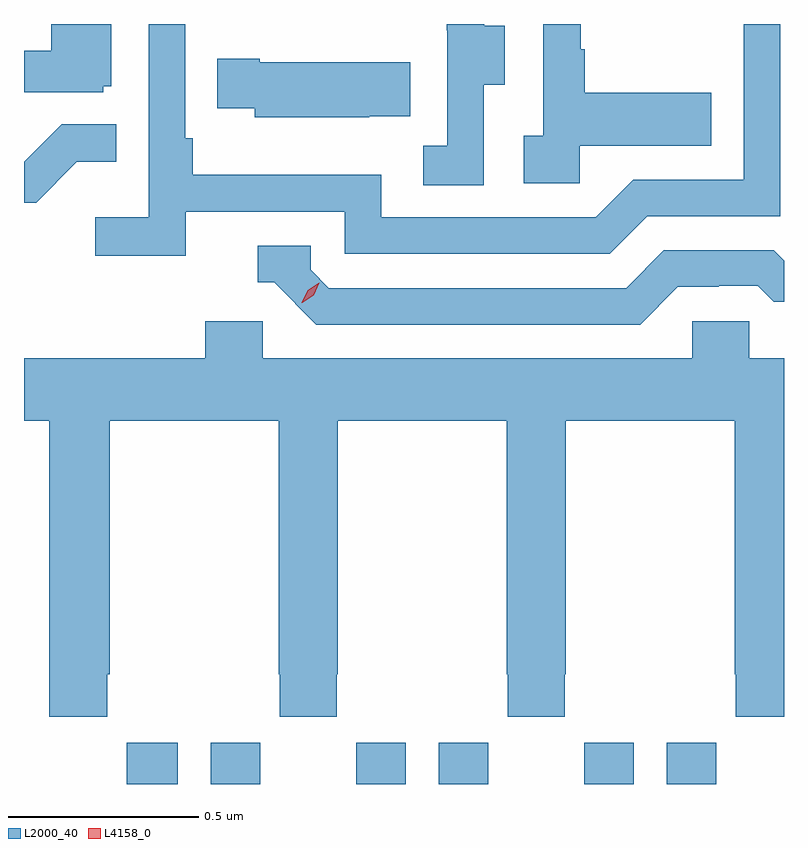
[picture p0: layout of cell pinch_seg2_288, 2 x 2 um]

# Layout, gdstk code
import gdstk
lib = gdstk.Library(unit=1e-6, precision=1e-09)
def R(c, l, rs):  # rectangles x0, y0, x1, y1
    for r in rs: c.add(gdstk.rectangle(r[:2], r[2:], *l))
def P(c, l, *ps):  # polygons
    for p in ps: c.add(gdstk.Polygon(p, *l))
L2000_40 = (2000, 40)
L4158_0 = (4158, 0)

pinch_seg2_288 = lib.new_cell('pinch_seg2_288')
R(pinch_seg2_288, L2000_40, [(933.44,630.696,933.574,630.805), (933.662,630.696,933.792,630.805), (934.044,630.696,934.174,630.805), (934.262,630.696,934.392,630.805), (934.644,630.696,934.774,630.805), (934.862,630.696,934.992,630.805)])
P(pinch_seg2_288, L2000_40, [(934.38,632.536),(934.435,632.536),(934.435,632.691),(934.381,632.691),(934.381,632.696),(934.283,632.696),(934.283,632.679),(934.284,632.679),(934.284,632.375),(934.221,632.375),(934.221,632.272),(934.38,632.272)],
  [(934.632,632.375),(934.979,632.375),(934.979,632.515),(934.645,632.515),(934.645,632.63),(934.635,632.63),(934.635,632.696),(934.536,632.696),(934.536,632.402),(934.485,632.402),(934.485,632.277),(934.632,632.277)],
  [(933.596,632.202),(934.014,632.202),(934.014,632.091),(934.711,632.091),(934.81,632.19),(935.16,632.19),(935.16,632.696),(935.064,632.696),(935.064,632.286),(934.773,632.286),(934.674,632.187),(934.11,632.187),(934.11,632.299),(933.614,632.299),(933.614,632.395),(933.594,632.395),(933.594,632.696),(933.498,632.696),(933.498,632.188),(933.357,632.188),(933.357,632.086),(933.596,632.086)],
  [(933.378,632.532),(933.4,632.532),(933.4,632.696),(933.242,632.696),(933.242,632.626),(933.17,632.626),(933.17,632.517),(933.378,632.517)],
  [(934.079,632.453),(934.187,632.453),(934.187,632.596),(933.79,632.596),(933.79,632.604),(933.679,632.604),(933.679,632.474),(933.777,632.474),(933.777,632.45),(934.079,632.45)],
  [(933.309,632.333),(933.413,632.333),(933.413,632.432),(933.269,632.432),(933.171,632.334),(933.17,632.334),(933.17,632.226),(933.202,632.226)],
  [(934.891,632.004),(934.998,632.004),(934.998,632.007),(935.101,632.007),(935.143,631.965),(935.17,631.965),(935.17,632.073),(935.143,632.1),(934.854,632.1),(934.755,632.001),(933.972,632.001),(933.924,632.049),(933.924,632.112),(933.785,632.112),(933.785,632.016),(933.828,632.016),(933.939,631.905),(934.792,631.905)],
  [(933.389,630.985),(933.396,630.985),(933.396,631.652),(933.841,631.652),(933.841,630.985),(933.843,630.985),(933.843,630.873),(933.993,630.873),(933.993,630.985),(933.996,630.985),(933.996,631.652),(934.441,631.652),(934.441,630.985),(934.443,630.985),(934.443,630.873),(934.593,630.873),(934.593,630.985),(934.596,630.985),(934.596,631.652),(935.041,631.652),(935.041,630.985),(935.043,630.985),(935.043,630.873),(935.17,630.873),(935.17,631.816),(935.079,631.816),(935.079,631.914),(934.929,631.914),(934.929,631.816),(933.798,631.816),(933.798,631.914),(933.647,631.914),(933.647,631.816),(933.17,631.816),(933.17,631.652),(933.236,631.652),(933.236,630.873),(933.389,630.873)])
P(pinch_seg2_288, L4158_0, [(933.901,631.963),(933.901,631.963),(933.917,631.995),(933.947,632.015),(933.947,632.015),(933.947,632.015),(933.932,631.982),(933.902,631.963)])

lib.write_gds('pinch_seg2_288.gds')
